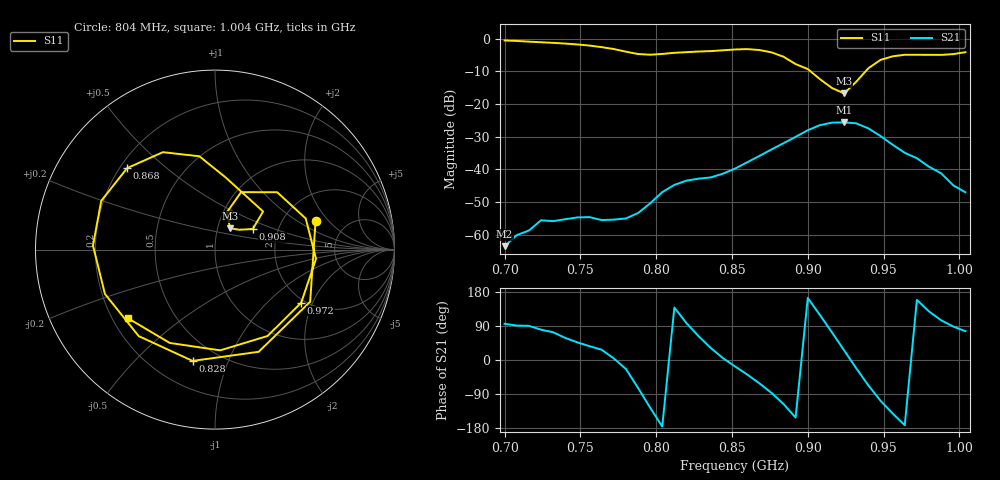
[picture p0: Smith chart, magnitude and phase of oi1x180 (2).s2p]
# Hz S RI R 50
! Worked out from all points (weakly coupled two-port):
!   39 points, 700 MHz to 1.004 GHz, reference 50 ohm
!   highest |S21| = -25.63 dB at 924 MHz (marker M1); lowest = -63.5 dB at 700 MHz (marker M2)
!   lowest |S11| = -16.8 dB at 924 MHz (marker M3), VSWR 1.34, Z = 57.3 + j13.9 ohm
!   |S11| at or under -10 dB: 901.8 MHz to 938.2 MHz (36.46 MHz wide, 3.96 % of centre)
!   S12 and S22 are empty: the file has one direction only
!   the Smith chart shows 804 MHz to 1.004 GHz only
!   S11 on the Smith chart (normalised r, x): 804 MHz: 3.03, +1.44; 828 MHz: 0.36, -0.75; 868 MHz: 0.23, +0.37; 908 MHz: 1.48, +0.36; 972 MHz: 1.91, -1.65; 1.004 GHz: 0.26, -0.32
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7e8  0.7551 0.5503  -6.49e-05 0.000669  0 0  0 0
7.24e8  0.8436 -0.2418  0.000289 0.00164  0 0  0 0
7.4e8  0.4574 -0.7009  0.000913 0.00148  0 0  0 0
7.56e8  -0.1903 -0.7569  0.0015 0.00111  0 0  0 0
7.72e8  -0.6616 -0.1996  0.0017 0.000128  0 0  0 0
7.8e8  -0.5887 0.225  0.00163 -0.00071  0 0  0 0
7.88e8  -0.2368 0.5297  0.000617 -0.00206  0 0  0 0
7.96e8  0.2466 0.509  -0.00176 -0.00246  0 0  0 0
8.04e8  0.5601 0.1571  -0.00448 -0.000341  0 0  0 0
8.2e8  0.2433 -0.5694  -0.000836 0.00668  0 0  0 0
8.28e8  -0.1249 -0.6202  0.0033 0.00643  0 0  0 0
8.52e8  -0.6798 0.0228  0.00985 -0.00299  0 0  0 0
8.68e8  -0.4894 0.454  0.00768 -0.0141  0 0  0 0
8.84e8  -0.087 0.5199  -0.0111 -0.0226  0 0  0 0
9e8  0.2679 0.2124  -0.0381 0.0111  0 0  0 0
9.08e8  0.2105 0.1146  -0.023 0.0415  0 0  0 0
9.24e8  0.0837 0.1185  0.0472 0.0224  0 0  0 0
9.4e8  0.1454 0.32  0.0165 -0.039  0 0  0 0
9.56e8  0.5056 0.1732  -0.0186 -0.0149  0 0  0 0
9.72e8  0.4804 -0.2956  -0.0138 0.00541  0 0  0 0
9.88e8  0.0292 -0.5614  -0.00224 0.00844  0 0  0 0
1.004e9  -0.487 -0.3813  0.00107 0.00434  0 0  0 0
